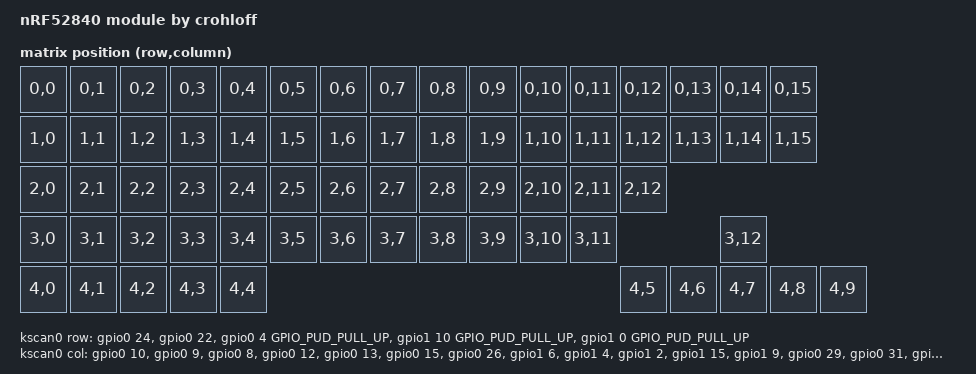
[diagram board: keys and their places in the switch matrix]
/*
 * Copyright (c) 2017 Linaro Limited
 *
 * SPDX-License-Identifier: Apache-2.0
 */

/dts-v1/;
#include <nordic/nrf52840_qiaa.dtsi>
#include <dt-bindings/zmk/matrix-transform.h>

/ {
	model = "nRF52840 module by crohloff";
	compatible = "crohloff,nrf52840_module";

	chosen {
		//zephyr,console = &uart0;
		//zephyr,shell-uart = &uart0;
		//zephyr,uart-mcumgr = &uart0;
		//zephyr,bt-mon-uart = &uart0;
		//zephyr,bt-c2h-uart = &uart0;
		zephyr,sram = &sram0;
		zephyr,flash = &flash0;
		zephyr,code-partition = &slot0_partition;
		zmk,underglow = &led_strip;
		zmk,kscan = &kscan0;
    zmk,matrix_transform = &default_transform;
  };

default_transform: keymap_transform_0 {
  compatible = "zmk,matrix-transform";
  columns = <16>;
  rows = <2>;
// | MX1  | MX2  | MX3  | MX4  | MX5  | MX6  | MX7  | MX8  | MX9  | MX10 | MX11 | MX12 | MX13 |    MX14     |
// |   MX15   | MX16 | MX17 | MX18 | MX19 | MX20 | MX21 | MX22 | MX23 | MX34 | MX25 | MX26 | MX27 |  MX28   |
// |    MX29    | MX30 | MX31 | MX32 | MX33 | MX34 | MX35 | MX36 | MX37 | MX38 | MX39 | MX40 |     MX41     |
// |     MX42      | MX43 | MX44 | MX45 | MX46 | MX47 | MX48 | MX49 | MX50 | MX51 | MX52 |       MX53       |
// |  MX54  |  MX55  |  MX56  |                  MX57                   |  MX58  |  MX59  |  MX60  |  MX61  |
  map = <
    RC(0,0) RC(0,1) RC(0,2) RC(0,3) RC(0,4) RC(0,5) RC(0,6) RC(0,7) RC(0,8) RC(0,9) RC(0,10) RC(0,11) RC(0,12) RC(0,13)         RC(0,14) RC(0,15)
    RC(1,0) RC(1,1) RC(1,2) RC(1,3) RC(1,4) RC(1,5) RC(1,6) RC(1,7) RC(1,8) RC(1,9) RC(1,10) RC(1,11) RC(1,12) RC(1,13)         RC(1,14) RC(1,15)
    RC(2,0) RC(2,1) RC(2,2) RC(2,3) RC(2,4) RC(2,5) RC(2,6) RC(2,7) RC(2,8) RC(2,9) RC(2,10) RC(2,11) RC(2,12)
    RC(3,0) RC(3,1) RC(3,2) RC(3,3) RC(3,4) RC(3,5) RC(3,6) RC(3,7) RC(3,8) RC(3,9) RC(3,10) RC(3,11)                           RC(3,12)
    RC(4,0) RC(4,1) RC(4,2) RC(4,3) RC(4,4) RC(4,5) RC(4,6)                                                             RC(4,7) RC(4,8) RC(4,9)
  >;
};

	kscan0: kscan {
		compatible = "zmk,kscan-gpio-matrix";
		label = "KSCAN";
    diode-direction = "row2col";

		row-gpios
			= <&gpio0 24 GPIO_ACTIVE_HIGH> //row0
			, <&gpio0 22 GPIO_ACTIVE_HIGH> //row1
			, <&gpio0 4  GPIO_PUD_PULL_UP> //row2
			, <&gpio1 10 GPIO_PUD_PULL_UP> //row3
			, <&gpio1 0  GPIO_PUD_PULL_UP> //row4
			;
		col-gpios
			= <&gpio0 10 (GPIO_ACTIVE_HIGH | GPIO_PULL_DOWN)> //col0
			, <&gpio0 9  (GPIO_ACTIVE_HIGH | GPIO_PULL_DOWN)> //col1
			, <&gpio0 8  (GPIO_ACTIVE_HIGH | GPIO_PULL_DOWN)> //col2
			, <&gpio0 12 (GPIO_ACTIVE_HIGH | GPIO_PULL_DOWN)> //col3
			, <&gpio0 13 (GPIO_ACTIVE_HIGH | GPIO_PULL_DOWN)> //col4
			, <&gpio0 15 (GPIO_ACTIVE_HIGH | GPIO_PULL_DOWN)> //col5
      , <&gpio0 26 (GPIO_ACTIVE_HIGH | GPIO_PULL_DOWN)> //col6
      , <&gpio1 6  (GPIO_ACTIVE_HIGH | GPIO_PULL_DOWN)> //col7
      , <&gpio1 4  (GPIO_ACTIVE_HIGH | GPIO_PULL_DOWN)> //col8
      , <&gpio1 2  (GPIO_ACTIVE_HIGH | GPIO_PULL_DOWN)> //col9
      , <&gpio1 15 (GPIO_ACTIVE_HIGH | GPIO_PULL_DOWN)> //col10
      , <&gpio1 9  (GPIO_ACTIVE_HIGH | GPIO_PULL_DOWN)> //col11
      , <&gpio0 29 (GPIO_ACTIVE_HIGH | GPIO_PULL_DOWN)> //col12
      , <&gpio0 31 (GPIO_ACTIVE_HIGH | GPIO_PULL_DOWN)> //col13
      , <&gpio0 6  (GPIO_ACTIVE_HIGH | GPIO_PULL_DOWN)> //col14
      , <&gpio0 20 (GPIO_ACTIVE_HIGH | GPIO_PULL_DOWN)> //col15
			;
	};
};

&adc {
	status = "okay";
};

&gpiote {
	status = "okay";
};

&gpio0 {
	status = "okay";
};

&gpio1 {
	status = "okay";
};

&uart0 {
	compatible = "nordic,nrf-uart";
	status = "okay";
	current-speed = <115200>;
	tx-pin = <11>;
	rx-pin = <14>;
	rts-pin = <16>;
	cts-pin = <17>;
};

&spi1 {
	compatible = "nordic,nrf-spi";
	status = "okay";
	sck-pin = <28>;
	mosi-pin = <45>;
	miso-pin = <30>;
};

&flash0 {
	/*
	 * For more information, see:
	 * http://docs.zephyrproject.org/latest/guides/dts/index.html#flash-partitions
	 */
	partitions {
		compatible = "fixed-partitions";
		#address-cells = <1>;
		#size-cells = <1>;

		boot_partition: partition@0 {
			label = "mcuboot";
			reg = <0x000000000 0x0000C000>;
		};
		slot0_partition: partition@c000 {
			label = "image-0";
			reg = <0x0000C000 0x000067000>;
		};
		slot1_partition: partition@73000 {
			label = "image-1";
			reg = <0x00073000 0x000067000>;
		};
		scratch_partition: partition@da000 {
			label = "image-scratch";
			reg = <0x000da000 0x0001e000>;
		};

		/*
		 * The flash starting at 0x000f8000 and ending at
		 * 0x000fffff is reserved for use by the application.
		 */

		/* Storage partition will be used by FCB/NFFS/NVS if enabled. */
		storage_partition: partition@f8000 {
			label = "storage";
			reg = <0x000f8000 0x00008000>;
		};
	};
};

&usbd {
	compatible = "nordic,nrf-usbd";
	status = "okay";
};
